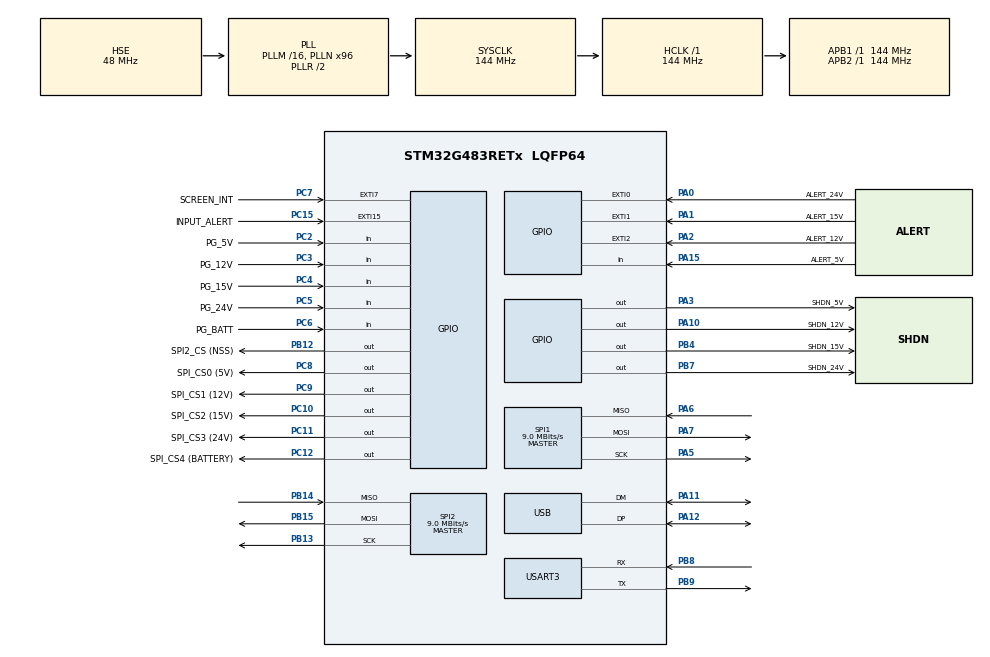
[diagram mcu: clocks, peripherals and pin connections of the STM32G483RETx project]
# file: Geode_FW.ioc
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ADC1.Channel-2\#ChannelRegularConversion=ADC_CHANNEL_TEMPSENSOR_ADC1
ADC1.NbrOfConversionFlag=1
ADC1.OffsetNumber-2\#ChannelRegularConversion=ADC_OFFSET_NONE
ADC1.Rank-2\#ChannelRegularConversion=1
ADC1.SamplingTime-2\#ChannelRegularConversion=ADC_SAMPLETIME_2CYCLES_5
ADC1.master=1
CRC.CRCLength=CRC_POLYLENGTH_16B
CRC.DefaultInitValueUse=DEFAULT_INIT_VALUE_DISABLE
CRC.DefaultPolynomialUse=DEFAULT_POLYNOMIAL_DISABLE
CRC.InitValue=0xFFFF
FREERTOS.Tasks01=defaultTask,24,128,StartDefaultTask,Default,NULL,Dynamic,NULL,NULL
FREERTOS.configCHECK_FOR_STACK_OVERFLOW=2
FREERTOS.configTOTAL_HEAP_SIZE=30720
FREERTOS.configUSE_MALLOC_FAILED_HOOK=1
Mcu.Family=STM32G4
Mcu.Name=STM32G483RETx
Mcu.Package=LQFP64
NVIC.PriorityGroup=NVIC_PRIORITYGROUP_4
NVIC.TIM5_IRQn=true\:15\:0\:false\:false\:true\:false\:false\:true\:true
NVIC.TimeBase=TIM5_IRQn
NVIC.TimeBaseIP=TIM5
NVIC.USB_LP_IRQn=true\:5\:0\:false\:false\:true\:true\:false\:true\:true
PA0.GPIO_Label=ALERT_24V
PA0.Signal=GPXTI0
PA1.GPIO_Label=ALERT_15V
PA1.Signal=GPXTI1
PA10.GPIO_Label=SHDN_12V
PA10.Signal=GPIO_Output
PA11.Mode=Device
PA11.Signal=USB_DM
PA12.Mode=Device
PA12.Signal=USB_DP
PA13.Mode=Trace_Asynchronous_SW
PA13.Signal=SYS_JTMS-SWDIO
PA14.Mode=Trace_Asynchronous_SW
PA14.Signal=SYS_JTCK-SWCLK
PA15.GPIO_Label=ALERT_5V
PA15.Signal=GPIO_Input
PA2.GPIO_Label=ALERT_12V
PA2.Signal=GPXTI2
PA3.GPIO_Label=SHDN_5V
PA3.Signal=GPIO_Output
PA5.Mode=Full_Duplex_Master
PA5.Signal=SPI1_SCK
PA6.Mode=Full_Duplex_Master
PA6.Signal=SPI1_MISO
PA7.Mode=Full_Duplex_Master
PA7.Signal=SPI1_MOSI
PB12.GPIO_Label=SPI2_CS (NSS)
PB12.GPIO_Speed=GPIO_SPEED_FREQ_HIGH
PB12.PinState=GPIO_PIN_SET
PB12.Signal=GPIO_Output
PB13.Mode=Full_Duplex_Master
PB13.Signal=SPI2_SCK
PB14.Mode=Full_Duplex_Master
PB14.Signal=SPI2_MISO
PB15.Mode=Full_Duplex_Master
PB15.Signal=SPI2_MOSI
PB3.Mode=Trace_Asynchronous_SW
PB3.Signal=SYS_JTDO-SWO
PB4.GPIO_Label=SHDN_15V
PB4.Signal=GPIO_Output
PB7.GPIO_Label=SHDN_24V
PB7.Signal=GPIO_Output
PB8-BOOT0.Mode=Asynchronous
PB8-BOOT0.Signal=USART3_RX
PB9.Mode=Asynchronous
PB9.Signal=USART3_TX
PC10.GPIO_Label=SPI_CS2 (15V)
PC10.GPIO_Speed=GPIO_SPEED_FREQ_HIGH
PC10.PinState=GPIO_PIN_SET
PC10.Signal=GPIO_Output
PC11.GPIO_Label=SPI_CS3 (24V)
PC11.GPIO_Speed=GPIO_SPEED_FREQ_HIGH
PC11.PinState=GPIO_PIN_SET
PC11.Signal=GPIO_Output
PC12.GPIO_Label=SPI_CS4 (BATTERY)
PC12.GPIO_Speed=GPIO_SPEED_FREQ_HIGH
PC12.PinState=GPIO_PIN_SET
PC12.Signal=GPIO_Output
PC15-OSC32_OUT.GPIO_Label=INPUT_ALERT
PC15-OSC32_OUT.Signal=GPXTI15
PC2.GPIO_Label=PG_5V
PC2.Signal=GPIO_Input
PC3.GPIO_Label=PG_12V
PC3.Signal=GPIO_Input
PC4.GPIO_Label=PG_15V
PC4.Signal=GPIO_Input
PC5.GPIO_Label=PG_24V
PC5.Signal=GPIO_Input
PC6.GPIO_Label=PG_BATT
PC6.Signal=GPIO_Input
PC7.GPIO_Label=SCREEN_INT
PC7.Signal=GPXTI7
PC8.GPIO_Label=SPI_CS0 (5V)
PC8.GPIO_Speed=GPIO_SPEED_FREQ_HIGH
PC8.PinState=GPIO_PIN_SET
PC8.Signal=GPIO_Output
PC9.GPIO_Label=SPI_CS1 (12V)
PC9.GPIO_Speed=GPIO_SPEED_FREQ_HIGH
PC9.PinState=GPIO_PIN_SET
PC9.Signal=GPIO_Output
PF0-OSC_IN.Mode=HSE-External-Oscillator
PF0-OSC_IN.Signal=RCC_OSC_IN
PF1-OSC_OUT.Mode=HSE-External-Oscillator
PF1-OSC_OUT.Signal=RCC_OSC_OUT
ProjectManager.HeapSize=0x200
ProjectManager.StackSize=0x400
ProjectManager.TargetToolchain=STM32CubeIDE
RCC.ADC12Freq_Value=144000000
RCC.ADC345Freq_Value=144000000
RCC.AHBFreq_Value=144000000
RCC.APB1Freq_Value=144000000
RCC.APB1TimFreq_Value=144000000
RCC.APB2Freq_Value=144000000
RCC.APB2TimFreq_Value=144000000
RCC.CortexFreq_Value=144000000
RCC.EXTERNAL_CLOCK_VALUE=12288000
RCC.HCLKFreq_Value=144000000
RCC.HSE_VALUE=48000000
RCC.HSI48_VALUE=48000000
RCC.HSI_VALUE=16000000
RCC.LSE_VALUE=32768
RCC.PLLM=RCC_PLLM_DIV16
RCC.PLLN=96
RCC.PLLQ=RCC_PLLQ_DIV6
RCC.PLLSourceVirtual=RCC_PLLSOURCE_HSE
RCC.SYSCLKFreq_VALUE=144000000
RCC.SYSCLKSource=RCC_SYSCLKSOURCE_PLLCLK
RCC.USBFreq_Value=48000000
RCC.VCOOutputFreq_Value=288000000
SPI1.BaudRatePrescaler=SPI_BAUDRATEPRESCALER_16
SPI1.CLKPhase=SPI_PHASE_2EDGE
SPI1.CLKPolarity=SPI_POLARITY_LOW
SPI1.CRCCalculation=SPI_CRCCALCULATION_DISABLE
SPI1.CalculateBaudRate=9.0 MBits/s
SPI1.DataSize=SPI_DATASIZE_8BIT
SPI1.Direction=SPI_DIRECTION_2LINES
SPI1.Mode=SPI_MODE_MASTER
SPI1.VirtualType=VM_MASTER
SPI2.BaudRatePrescaler=SPI_BAUDRATEPRESCALER_16
SPI2.CLKPhase=SPI_PHASE_2EDGE
SPI2.CLKPolarity=SPI_POLARITY_LOW
SPI2.CRCCalculation=SPI_CRCCALCULATION_DISABLE
SPI2.CalculateBaudRate=9.0 MBits/s
SPI2.DataSize=SPI_DATASIZE_8BIT
SPI2.Direction=SPI_DIRECTION_2LINES
SPI2.Mode=SPI_MODE_MASTER
SPI2.VirtualType=VM_MASTER
STMicroelectronics.X-CUBE-SMBUS.2.1.0.PMBus_version=2
STMicroelectronics.X-CUBE-SMBUS.2.1.0.SMB_master=1
STMicroelectronics.X-CUBE-SMBUS.2.1.0.SMB_pec=0
TIM3.Channel-PWM\ Generation4\ No\ Output=TIM_CHANNEL_4
USART3.VirtualMode-Asynchronous=VM_ASYNC
USB_DEVICE.CLASS_NAME_FS=CDC
USB_DEVICE.VirtualMode=Cdc
USB_DEVICE.VirtualModeFS=Cdc_FS
VP_ADC1_TempSens_Input.Mode=IN-TempSens
VP_CRC_VS_CRC.Mode=CRC_Activate
VP_FREERTOS_VS_CMSIS_V2.Mode=CMSIS_V2
VP_IWDG_VS_IWDG.Mode=IWDG_Activate
VP_SYS_VS_DBSignals.Mode=DisableDeadBatterySignals
VP_SYS_VS_tim5.Mode=TIM5
VP_TIM3_VS_no_output4.Mode=PWM Generation4 No Output
VP_USB_DEVICE_VS_USB_DEVICE_CDC_FS.Mode=CDC_FS
board=custom

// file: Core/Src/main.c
/* USER CODE BEGIN Header */
/**
  ******************************************************************************
  * @file           : main.c
  * @brief          : Main program body
  ******************************************************************************
  * @attention
  *
  * Copyright (c) 2025 STMicroelectronics.
  * All rights reserved.
  *
  * This software is licensed under terms that can be found in the LICENSE file
  * in the root directory of this software component.
  * If no LICENSE file comes with this software, it is provided AS-IS.
  *
  ******************************************************************************
  */
/* USER CODE END Header */
#include "main.h"
#include "cmsis_os.h"
#include "adc.h"
#include "crc.h"
#include "iwdg.h"
#include "spi.h"
#include "tim.h"
#include "usart.h"
#include "usb_device.h"
#include "gpio.h"

/* USER CODE BEGIN Includes */
#include <stdio.h>
/* USER CODE END Includes */

void SystemClock_Config(void);
void MX_FREERTOS_Init(void);

/* USER CODE BEGIN 0 */
int _write(int file, char *ptr, int len) {
  for (int i = 0; i < len; i++) {
    ITM_SendChar(*ptr++);
  }
  return len;
}
/* USER CODE END 0 */

int main(void)
{

  /* MCU Configuration--------------------------------------------------------*/

  /* Reset of all peripherals, Initializes the Flash interface and the Systick. */
  HAL_Init();

  /* Configure the system clock */
  SystemClock_Config();

  /* Initialize all configured peripherals */
  MX_GPIO_Init();
  MX_CRC_Init();
  MX_SPI1_Init();
  MX_SPI2_Init();
  MX_ADC1_Init();
  MX_TIM3_Init();
  MX_IWDG_Init();
  MX_USART3_UART_Init();
  /* USER CODE BEGIN 2 */
  	GPIO_InitTypeDef GPIO_InitStruct = {0};

    // Enable the clock for GPIOA
    __HAL_RCC_GPIOA_CLK_ENABLE();

    // Configure PA12 (USB D+) as a standard output pin
    GPIO_InitStruct.Pin = GPIO_PIN_12;
    GPIO_InitStruct.Mode = GPIO_MODE_OUTPUT_PP;
    GPIO_InitStruct.Pull = GPIO_NOPULL;
    GPIO_InitStruct.Speed = GPIO_SPEED_FREQ_LOW;
    HAL_GPIO_Init(GPIOA, &GPIO_InitStruct);

    // Drive the pin low to simulate disconnecting the USB cable
    HAL_GPIO_WritePin(GPIOA, GPIO_PIN_12, GPIO_PIN_RESET);

    // Wait for the host computer to register the disconnection
    // HAL_Delay works fine here because the FreeRTOS scheduler hasn't started yet
    HAL_Delay(15);
  /* USER CODE END 2 */

  /* Init scheduler */
  osKernelInitialize();  /* Call init function for freertos objects (in cmsis_os2.c) */
  MX_FREERTOS_Init();

  /* Start scheduler */
  osKernelStart();

  /* We should never get here as control is now taken by the scheduler */

  /* Infinite loop */
  while (1)
  {

  }
}

void SystemClock_Config(void)
{
  RCC_OscInitTypeDef RCC_OscInitStruct = {0};
  RCC_ClkInitTypeDef RCC_ClkInitStruct = {0};

  /** Configure the main internal regulator output voltage
  */
  HAL_PWREx_ControlVoltageScaling(PWR_REGULATOR_VOLTAGE_SCALE1);

  /** Initializes the RCC Oscillators according to the specified parameters
  * in the RCC_OscInitTypeDef structure.
  */
  RCC_OscInitStruct.OscillatorType = RCC_OSCILLATORTYPE_LSI|RCC_OSCILLATORTYPE_HSE;
  RCC_OscInitStruct.HSEState = RCC_HSE_ON;
  RCC_OscInitStruct.LSIState = RCC_LSI_ON;
  RCC_OscInitStruct.PLL.PLLState = RCC_PLL_ON;
  RCC_OscInitStruct.PLL.PLLSource = RCC_PLLSOURCE_HSE;
  RCC_OscInitStruct.PLL.PLLM = RCC_PLLM_DIV16;
  RCC_OscInitStruct.PLL.PLLN = 96;
  RCC_OscInitStruct.PLL.PLLP = RCC_PLLP_DIV2;
  RCC_OscInitStruct.PLL.PLLQ = RCC_PLLQ_DIV6;
  RCC_OscInitStruct.PLL.PLLR = RCC_PLLR_DIV2;
  if (HAL_RCC_OscConfig(&RCC_OscInitStruct) != HAL_OK)
  {
    Error_Handler();
  }

  /** Initializes the CPU, AHB and APB buses clocks
  */
  RCC_ClkInitStruct.ClockType = RCC_CLOCKTYPE_HCLK|RCC_CLOCKTYPE_SYSCLK
                              |RCC_CLOCKTYPE_PCLK1|RCC_CLOCKTYPE_PCLK2;
  RCC_ClkInitStruct.SYSCLKSource = RCC_SYSCLKSOURCE_PLLCLK;
  RCC_ClkInitStruct.AHBCLKDivider = RCC_SYSCLK_DIV1;
  RCC_ClkInitStruct.APB1CLKDivider = RCC_HCLK_DIV1;
  RCC_ClkInitStruct.APB2CLKDivider = RCC_HCLK_DIV1;

  if (HAL_RCC_ClockConfig(&RCC_ClkInitStruct, FLASH_LATENCY_4) != HAL_OK)
  {
    Error_Handler();
  }
}

void HAL_TIM_PeriodElapsedCallback(TIM_HandleTypeDef *htim)
{
  if (htim->Instance == TIM5)
  {
    HAL_IncTick();
  }
}

void Error_Handler(void)
{
  __disable_irq();
  while (1)
  {
  }
}

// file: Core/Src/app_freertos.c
/* USER CODE BEGIN Header */
/**
  ******************************************************************************
  * File Name          : app_freertos.c
  * Description        : Code for freertos applications
  ******************************************************************************
  * @attention
  *
  * Copyright (c) 2025 STMicroelectronics.
  * All rights reserved.
  *
  * This software is licensed under terms that can be found in the LICENSE file
  * in the root directory of this software component.
  * If no LICENSE file comes with this software, it is provided AS-IS.
  *
  ******************************************************************************
  */
/* USER CODE END Header */

#include "FreeRTOS.h"
#include "task.h"
#include "main.h"
#include "cmsis_os.h"

#include "usb_device.h"

/* USER CODE BEGIN Includes */
#include "Interface.h"
/* USER CODE END Includes */

/* Definitions for defaultTask */
osThreadId_t defaultTaskHandle;
const osThreadAttr_t defaultTask_attributes = {
  .name = "defaultTask",
  .priority = (osPriority_t) osPriorityNormal,
  .stack_size = 128 * 4
};

void StartDefaultTask(void *argument);

void MX_FREERTOS_Init(void); /* (MISRA C 2004 rule 8.1) */

/* Hook prototypes */
void vApplicationStackOverflowHook(xTaskHandle xTask, signed char *pcTaskName);
void vApplicationMallocFailedHook(void);

/* USER CODE BEGIN 4 */
void vApplicationStackOverflowHook(xTaskHandle xTask, signed char *pcTaskName)
{
   /* Run time stack overflow checking is performed if
   configCHECK_FOR_STACK_OVERFLOW is defined to 1 or 2. This hook function is
   called if a stack overflow is detected. */
	(void)xTask;
	(void)pcTaskName;   // read it in debugger instead of printing

	taskDISABLE_INTERRUPTS();   // stop scheduling/ISRs
	__BKPT(0);                  // break into debugger; inspect pcTaskName
	for (;;) { /* stay here */ }
}
/* USER CODE END 4 */

/* USER CODE BEGIN 5 */
void vApplicationMallocFailedHook(void)
{
   /* vApplicationMallocFailedHook() will only be called if
   configUSE_MALLOC_FAILED_HOOK is set to 1 in FreeRTOSConfig.h. It is a hook
   function that will get called if a call to pvPortMalloc() fails.
   pvPortMalloc() is called internally by the kernel whenever a task, queue,
   timer or semaphore is created. It is also called by various parts of the
   demo application. If heap_1.c or heap_2.c are used, then the size of the
   heap available to pvPortMalloc() is defined by configTOTAL_HEAP_SIZE in
   FreeRTOSConfig.h, and the xPortGetFreeHeapSize() API function can be used
   to query the size of free heap space that remains (although it does not
   provide information on how the remaining heap might be fragmented). */
}
/* USER CODE END 5 */

void MX_FREERTOS_Init(void) {
  /* USER CODE BEGIN Init */
	  MX_USB_Device_Init();
	  InterfaceSystemInit();
  /* USER CODE END Init */

  /* Create the thread(s) */
  /* creation of defaultTask */
  defaultTaskHandle = osThreadNew(StartDefaultTask, NULL, &defaultTask_attributes);

}

void StartDefaultTask(void *argument)
{
  /* init code for USB_Device */
  MX_USB_Device_Init();
  for(;;)
  {
    osDelay(1);
  }
}
